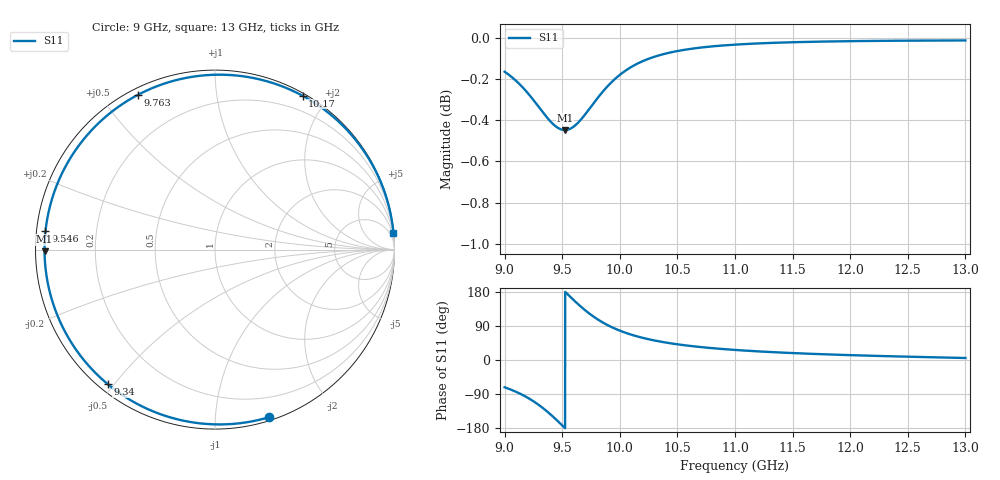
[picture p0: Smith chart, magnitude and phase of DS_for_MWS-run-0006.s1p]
! TOUCHSTONE file generated by CST DESIGN STUDIO
! Date and time: Tue Feb  4 17:56:32 2025
! Project name: C:\Work\MatlabApps\UnitCellOptimizationMatlab\CST\unitcell.cst
! Tree item: Tasks\Sweep1\SPara1\S-Parameters
! Header version: 2024
! Port assignment regex: !\s*Touchstone port\s*([0-9]+)\s*=\s*(CST MWS port|CST DES external port|CST DES block port)\s*(.+)\s* \(\"(.*)\"\)(\s*mode\s*([0-9]+))?.*
! Touchstone port assignment:
! Touchstone port 1 = CST DES external port 1 ("")
# GHz S MA R 50
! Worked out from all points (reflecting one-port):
!   4001 points, 9 GHz to 13 GHz, reference 50 ohm
!   lowest |S11| = -0.4 dB at 9.523 GHz (marker M1), VSWR 38.84, Z = 1.29 - j0.274 ohm
!   phase of S11 starts at -72 deg and turns -283 deg over the sweep
!   S11 on the Smith chart (normalised r, x): 9 GHz: 0.03, -1.38; 9.34 GHz: 0.03, -0.48; 9.546 GHz: 0.03, +0.05; 9.763 GHz: 0.03, +0.62; 10.17 GHz: 0.03, +1.72; 13 GHz: 0, +22
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9  0.9813 -72.0
9.093  0.9767 -83.1
9.199  0.9698 -99.3
9.273  0.9641 -113.5
9.34  0.9586 -128.6
9.384  0.9553 -139.7
9.429  0.9525 -152.0
9.5  0.95 -172.5
9.523  0.9498 -179.4
9.546  0.95 173.8
9.6  0.9516 158.0
9.66  0.9552 141.3
9.711  0.9591 128.4
9.763  0.9634 116.4
9.813  0.9674 106.2
9.867  0.9715 96.4
9.933  0.9759 86.2
10  0.9796 77.4
10.083  0.9833 68.4
10.174  0.9864 60.4
10.323  0.99 50.2
10.5  0.9927 41.4
10.721  0.9948 33.5
11  0.9963 26.5
11.5  0.9976 18.3
12  0.9982 12.8
12.5  0.9985 8.7
13  0.9986 5.3
